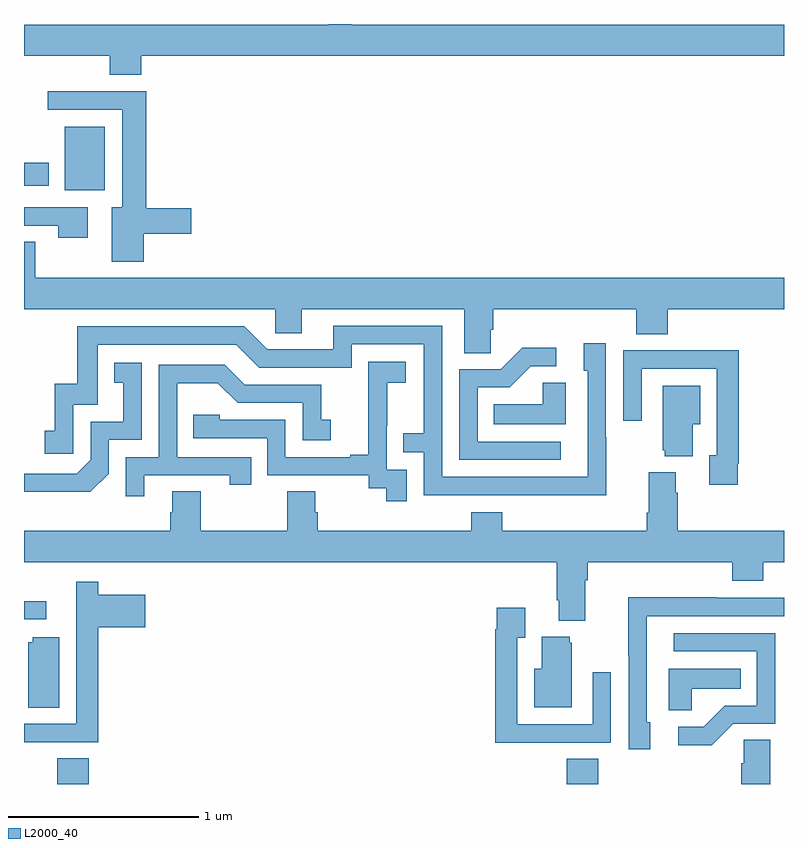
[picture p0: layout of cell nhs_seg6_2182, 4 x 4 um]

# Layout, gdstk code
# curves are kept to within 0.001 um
import gdstk
lib = gdstk.Library(unit=1e-6, precision=1e-09)
def R(c, l, rs):  # rectangles x0, y0, x1, y1
    for r in rs: c.add(gdstk.rectangle(r[:2], r[2:], *l))
def P(c, l, *ps):  # polygons
    for p in ps: c.add(gdstk.Polygon(p, *l))
L2000_40 = (2000, 40)

nhs_seg6_2182 = lib.new_cell('nhs_seg6_2182')
R(nhs_seg6_2182, L2000_40, [(241.175,947.5,241.34,947.636), (243.857,947.5,244.022,947.633), (241,948.366,241.117,948.463), (241.214,950.624,241.426,950.959), (241,950.648,241.129,950.77)])
P(nhs_seg6_2182, L2000_40, [(241,951.332),(241.451,951.332),(241.451,951.233),(241.616,951.233),(241.616,951.332),(245,951.332),(245,951.496),(242.725,951.496),(242.725,951.5),(242.603,951.5),(242.603,951.496),(241,951.496)],
  [(241.63,950.396),(241.879,950.396),(241.879,950.531),(241.643,950.531),(241.643,951.146),(241.125,951.146),(241.125,951.048),(241.517,951.048),(241.517,950.536),(241.463,950.536),(241.463,950.25),(241.63,950.25)],
  [(241.336,950.535),(241,950.535),(241,950.439),(241.18,950.439),(241.18,950.376),(241.336,950.376)],
  [(243.456,949.891),(243.47,949.891),(243.47,950),(244.223,950),(244.223,949.867),(244.388,949.867),(244.388,950),(245,950),(245,950.164),(241.059,950.164),(241.059,950.354),(241,950.354),(241,950),(242.322,950),(242.322,949.873),(242.461,949.873),(242.461,950),(243.317,950),(243.317,949.768),(243.456,949.768)],
  [(244.065,949.325),(244.062,949.325),(244.062,949.819),(243.947,949.819),(243.947,949.674),(243.966,949.674),(243.966,949.116),(243.201,949.116),(243.201,949.911),(242.627,949.911),(242.627,949.788),(242.28,949.788),(242.16,949.908),(241.281,949.908),(241.281,949.606),(241.163,949.606),(241.163,949.359),(241.11,949.359),(241.11,949.239),(241.26,949.239),(241.26,949.497),(241.389,949.497),(241.389,949.812),(242.118,949.812),(242.238,949.692),(242.724,949.692),(242.724,949.815),(243.105,949.815),(243.105,949.346),(242.995,949.346),(242.995,949.245),(243.105,949.245),(243.105,949.02),(244.065,949.019)],
  [(243.826,949.302),(243.387,949.302),(243.387,949.587),(243.556,949.587),(243.667,949.698),(243.802,949.698),(243.802,949.796),(243.623,949.796),(243.51,949.683),(243.291,949.683),(243.291,949.206),(243.826,949.206)],
  [(244.756,949.186),(244.763,949.186),(244.763,949.784),(244.471,949.784),(244.471,949.782),(244.155,949.782),(244.155,949.413),(244.251,949.413),(244.251,949.686),(244.647,949.686),(244.647,949.23),(244.607,949.23),(244.607,949.074),(244.756,949.074)],
  [(243.015,949.155),(242.91,949.155),(242.91,949.385),(242.912,949.385),(242.912,949.613),(243.01,949.613),(243.01,949.723),(242.812,949.723),(242.812,949.517),(242.813,949.517),(242.813,949.234),(242.717,949.234),(242.717,949.221),(242.376,949.221),(242.376,949.416),(242.031,949.416),(242.031,949.443),(241.891,949.443),(241.891,949.32),(242.28,949.32),(242.28,949.125),(242.814,949.125),(242.814,949.057),(242.907,949.057),(242.907,948.987),(243.015,948.987)],
  [(241.446,949.134),(241.446,949.311),(241.62,949.311),(241.62,949.717),(241.474,949.717),(241.474,949.611),(241.523,949.611),(241.523,949.407),(241.35,949.407),(241.35,949.206),(241.278,949.134),(241,949.134),(241,949.037),(241.348,949.037)],
  [(241.633,949.125),(242.084,949.125),(242.084,949.074),(242.195,949.074),(242.195,949.221),(241.806,949.221),(241.806,949.61),(242.02,949.61),(242.124,949.506),(242.466,949.506),(242.466,949.308),(242.614,949.308),(242.614,949.417),(242.565,949.417),(242.565,949.602),(242.161,949.602),(242.056,949.707),(241.71,949.707),(241.71,949.221),(241.536,949.221),(241.536,949.014),(241.633,949.014)],
  [(243.85,949.613),(243.729,949.613),(243.729,949.498),(243.472,949.498),(243.472,949.394),(243.85,949.394)],
  [(244.519,949.394),(244.558,949.394),(244.558,949.597),(244.361,949.597),(244.361,949.257),(244.373,949.257),(244.373,949.226),(244.519,949.226)],
  [(243.955,948.572),(243.968,948.572),(243.968,948.668),(244.727,948.668),(244.727,948.569),(244.892,948.569),(244.892,948.668),(245,948.668),(245,948.832),(244.442,948.832),(244.442,949.034),(244.429,949.034),(244.429,949.141),(244.289,949.141),(244.289,948.928),(244.277,948.928),(244.277,948.832),(243.518,948.832),(243.518,948.931),(243.353,948.931),(243.353,948.832),(242.546,948.832),(242.546,948.93),(242.533,948.93),(242.533,949.04),(242.386,949.04),(242.386,948.832),(241.929,948.832),(241.929,949.04),(241.781,949.04),(241.781,948.93),(241.769,948.93),(241.769,948.832),(241,948.832),(241,948.668),(243.803,948.668),(243.803,948.466),(243.815,948.466),(243.815,948.359),(243.955,948.359)],
  [(241.091,947.721),(241.391,947.721),(241.391,948.326),(241.639,948.326),(241.639,948.496),(241.391,948.496),(241.391,948.565),(241.274,948.565),(241.274,948.342),(241.275,948.342),(241.275,947.817),(241,947.817),(241,947.719),(241.091,947.719)],
  [(244.297,947.826),(244.278,947.826),(244.278,948.384),(245,948.384),(245,948.48),(244.643,948.48),(244.643,948.482),(244.18,948.482),(244.18,948.175),(244.182,948.175),(244.182,947.682),(244.297,947.682)],
  [(243.773,947.718),(244.089,947.718),(244.089,948.088),(243.993,948.088),(243.993,947.814),(243.597,947.814),(243.597,948.271),(243.637,948.271),(243.637,948.427),(243.489,948.427),(243.489,948.314),(243.481,948.314),(243.481,947.717),(243.773,947.717)],
  [(244.734,947.817),(244.953,947.817),(244.953,948.294),(244.419,948.294),(244.419,948.198),(244.857,948.198),(244.857,947.913),(244.688,947.913),(244.577,947.802),(244.443,947.802),(244.443,947.705),(244.621,947.705)],
  [(243.883,948.243),(243.872,948.243),(243.872,948.274),(243.725,948.274),(243.725,948.106),(243.686,948.106),(243.686,947.903),(243.883,947.903)],
  [(241.186,948.273),(241.047,948.273),(241.047,948.246),(241.022,948.246),(241.022,947.902),(241.186,947.902)],
  [(244.515,948.002),(244.772,948.002),(244.772,948.106),(244.394,948.106),(244.394,947.887),(244.515,947.887)],
  [(244.927,947.732),(244.788,947.732),(244.788,947.609),(244.775,947.609),(244.775,947.5),(244.927,947.5)])

lib.write_gds('nhs_seg6_2182.gds')
